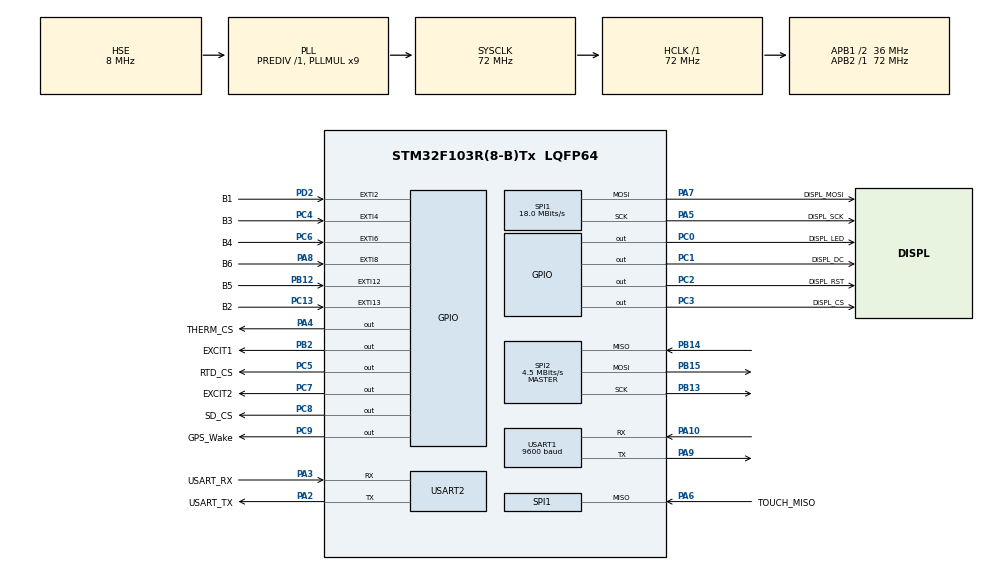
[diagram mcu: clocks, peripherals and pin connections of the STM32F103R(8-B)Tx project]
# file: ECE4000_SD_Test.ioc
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Dma.Request0=SPI1_RX
Dma.Request1=SPI1_TX
Dma.Request2=USART1_RX
Dma.SPI1_RX.0.Direction=DMA_PERIPH_TO_MEMORY
Dma.SPI1_RX.0.Instance=DMA1_Channel2
Dma.SPI1_RX.0.MemDataAlignment=DMA_MDATAALIGN_BYTE
Dma.SPI1_RX.0.MemInc=DMA_MINC_ENABLE
Dma.SPI1_RX.0.Mode=DMA_NORMAL
Dma.SPI1_RX.0.PeriphDataAlignment=DMA_PDATAALIGN_BYTE
Dma.SPI1_RX.0.PeriphInc=DMA_PINC_DISABLE
Dma.SPI1_RX.0.Priority=DMA_PRIORITY_LOW
Dma.SPI1_TX.1.Direction=DMA_MEMORY_TO_PERIPH
Dma.SPI1_TX.1.Instance=DMA1_Channel3
Dma.SPI1_TX.1.MemDataAlignment=DMA_MDATAALIGN_BYTE
Dma.SPI1_TX.1.MemInc=DMA_MINC_ENABLE
Dma.SPI1_TX.1.Mode=DMA_NORMAL
Dma.SPI1_TX.1.PeriphDataAlignment=DMA_PDATAALIGN_BYTE
Dma.SPI1_TX.1.PeriphInc=DMA_PINC_DISABLE
Dma.SPI1_TX.1.Priority=DMA_PRIORITY_LOW
Dma.USART1_RX.2.Direction=DMA_PERIPH_TO_MEMORY
Dma.USART1_RX.2.Instance=DMA1_Channel5
Dma.USART1_RX.2.MemDataAlignment=DMA_MDATAALIGN_BYTE
Dma.USART1_RX.2.MemInc=DMA_MINC_ENABLE
Dma.USART1_RX.2.Mode=DMA_CIRCULAR
Dma.USART1_RX.2.PeriphDataAlignment=DMA_PDATAALIGN_BYTE
Dma.USART1_RX.2.PeriphInc=DMA_PINC_DISABLE
Dma.USART1_RX.2.Priority=DMA_PRIORITY_LOW
FATFS._CODE_PAGE=437
FATFS._USE_LABEL=1
FATFS._USE_LFN=1
Mcu.Family=STM32F1
Mcu.Name=STM32F103R(8-B)Tx
Mcu.Package=LQFP64
NVIC.DMA1_Channel2_IRQn=true\:0\:0\:false\:false\:true\:false\:true\:true
NVIC.DMA1_Channel3_IRQn=true\:0\:0\:false\:false\:true\:false\:true\:true
NVIC.DMA1_Channel5_IRQn=true\:0\:0\:false\:false\:true\:false\:true\:true
NVIC.EXTI15_10_IRQn=true\:0\:0\:false\:false\:true\:true\:true\:true
NVIC.EXTI2_IRQn=true\:0\:0\:false\:false\:true\:true\:true\:true
NVIC.EXTI4_IRQn=true\:0\:0\:false\:false\:true\:true\:true\:true
NVIC.EXTI9_5_IRQn=true\:0\:0\:false\:false\:true\:true\:true\:true
NVIC.PriorityGroup=NVIC_PRIORITYGROUP_4
NVIC.TIM2_IRQn=true\:0\:0\:false\:false\:true\:true\:true\:true
PA10.Mode=Asynchronous
PA10.Signal=USART1_RX
PA13.GPIO_Label=TMS
PA13.Mode=Serial_Wire
PA13.Signal=SYS_JTMS-SWDIO
PA14.GPIO_Label=TCK
PA14.Mode=Serial_Wire
PA14.Signal=SYS_JTCK-SWCLK
PA2.GPIO_Label=USART_TX
PA2.GPIO_Mode=GPIO_MODE_AF_PP
PA2.GPIO_PuPd=GPIO_NOPULL
PA2.GPIO_Speed=GPIO_SPEED_FREQ_LOW
PA2.Mode=Asynchronous
PA2.Signal=USART2_TX
PA3.GPIO_Label=USART_RX
PA3.GPIO_Mode=GPIO_MODE_AF_PP
PA3.GPIO_PuPd=GPIO_NOPULL
PA3.GPIO_Speed=GPIO_SPEED_FREQ_LOW
PA3.Mode=Asynchronous
PA3.Signal=USART2_RX
PA4.GPIO_Label=THERM_CS
PA4.GPIO_Speed=GPIO_SPEED_FREQ_HIGH
PA4.PinState=GPIO_PIN_SET
PA4.Signal=GPIO_Output
PA5.GPIO_Label=DISPL_SCK
PA5.Mode=Full_Duplex_Master
PA5.Signal=SPI1_SCK
PA6.GPIO_Label=TOUCH_MISO
PA6.GPIO_PuPd=GPIO_NOPULL
PA6.Mode=Full_Duplex_Master
PA6.Signal=SPI1_MISO
PA7.GPIO_Label=DISPL_MOSI
PA7.Mode=Full_Duplex_Master
PA7.Signal=SPI1_MOSI
PA8.GPIO_Label=B6
PA8.GPIO_ModeDefaultEXTI=GPIO_MODE_IT_FALLING
PA8.Signal=GPXTI8
PA9.Mode=Asynchronous
PA9.Signal=USART1_TX
PB12.GPIO_Label=B5
PB12.GPIO_ModeDefaultEXTI=GPIO_MODE_IT_FALLING
PB12.Signal=GPXTI12
PB13.Mode=Full_Duplex_Master
PB13.Signal=SPI2_SCK
PB14.Mode=Full_Duplex_Master
PB14.Signal=SPI2_MISO
PB15.Mode=Full_Duplex_Master
PB15.Signal=SPI2_MOSI
PB2.GPIO_Label=EXCIT1
PB2.Signal=GPIO_Output
PC0.GPIO_Label=DISPL_LED
PC0.Signal=GPIO_Output
PC1.GPIO_Label=DISPL_DC
PC1.Signal=GPIO_Output
PC13-TAMPER-RTC.GPIO_Label=B2
PC13-TAMPER-RTC.GPIO_ModeDefaultEXTI=GPIO_MODE_IT_FALLING
PC13-TAMPER-RTC.Signal=GPXTI13
PC14-OSC32_IN.Mode=LSE-External-Oscillator
PC14-OSC32_IN.Signal=RCC_OSC32_IN
PC15-OSC32_OUT.Mode=LSE-External-Oscillator
PC15-OSC32_OUT.Signal=RCC_OSC32_OUT
PC2.GPIO_Label=DISPL_RST
PC2.Signal=GPIO_Output
PC3.GPIO_Label=DISPL_CS
PC3.PinState=GPIO_PIN_SET
PC3.Signal=GPIO_Output
PC4.GPIO_Label=B3
PC4.GPIO_ModeDefaultEXTI=GPIO_MODE_IT_FALLING
PC4.Signal=GPXTI4
PC5.GPIO_Label=RTD_CS
PC5.GPIO_Speed=GPIO_SPEED_FREQ_HIGH
PC5.PinState=GPIO_PIN_SET
PC5.Signal=GPIO_Output
PC6.GPIO_Label=B4
PC6.GPIO_ModeDefaultEXTI=GPIO_MODE_IT_FALLING
PC6.Signal=GPXTI6
PC7.GPIO_Label=EXCIT2
PC7.Signal=GPIO_Output
PC8.GPIO_Label=SD_CS
PC8.GPIO_PuPd=GPIO_NOPULL
PC8.GPIO_Speed=GPIO_SPEED_FREQ_HIGH
PC8.PinState=GPIO_PIN_SET
PC8.Signal=GPIO_Output
PC9.GPIO_Label=GPS_Wake
PC9.Signal=GPIO_Output
PD0-OSC_IN.Mode=HSE-External-Clock-Source
PD0-OSC_IN.Signal=RCC_OSC_IN
PD1-OSC_OUT.Mode=HSE-External-Clock-Source
PD1-OSC_OUT.Signal=RCC_OSC_OUT
PD2.GPIO_Label=B1
PD2.GPIO_ModeDefaultEXTI=GPIO_MODE_IT_FALLING
PD2.Signal=GPXTI2
ProjectManager.HeapSize=0x200
ProjectManager.StackSize=0x400
ProjectManager.TargetToolchain=STM32CubeIDE
RCC.AHBFreq_Value=72000000
RCC.APB1CLKDivider=RCC_HCLK_DIV2
RCC.APB1Freq_Value=36000000
RCC.APB1TimFreq_Value=72000000
RCC.APB2Freq_Value=72000000
RCC.APB2TimFreq_Value=72000000
RCC.HCLKFreq_Value=72000000
RCC.PLLMUL=RCC_PLL_MUL9
RCC.PLLSourceVirtual=RCC_PLLSOURCE_HSE
RCC.RTCClockSelection=RCC_RTCCLKSOURCE_LSE
RCC.SYSCLKFreq_VALUE=72000000
RCC.SYSCLKSource=RCC_SYSCLKSOURCE_PLLCLK
RCC.USBFreq_Value=72000000
SPI1.BaudRatePrescaler=SPI_BAUDRATEPRESCALER_4
SPI1.CalculateBaudRate=18.0 MBits/s
SPI1.Direction=SPI_DIRECTION_2LINES
SPI1.Mode=SPI_MODE_MASTER
SPI1.VirtualType=VM_MASTER
SPI2.BaudRatePrescaler=SPI_BAUDRATEPRESCALER_8
SPI2.CLKPhase=SPI_PHASE_2EDGE
SPI2.CalculateBaudRate=4.5 MBits/s
SPI2.Direction=SPI_DIRECTION_2LINES
SPI2.Mode=SPI_MODE_MASTER
SPI2.VirtualType=VM_MASTER
TIM2.Period=1000-1
TIM2.Prescaler=7200-1
USART1.BaudRate=9600
USART1.VirtualMode=VM_ASYNC
USART2.VirtualMode=VM_ASYNC
VP_FATFS_VS_Generic.Mode=User_defined
VP_TIM2_VS_ClockSourceINT.Mode=Internal
VP_TIM3_VS_ClockSourceINT.Mode=Internal
board=NUCLEO-F103RB

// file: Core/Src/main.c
/* USER CODE BEGIN Header */
/**
  ******************************************************************************
  * @file           : main.c
  * @brief          : Main program body
  ******************************************************************************
  * @attention
  *
  * Copyright (c) 2026 STMicroelectronics.
  * All rights reserved.
  *
  * This software is licensed under terms that can be found in the LICENSE file
  * in the root directory of this software component.
  * If no LICENSE file comes with this software, it is provided AS-IS.
  *
  ******************************************************************************
  */
/* USER CODE END Header */
#include "main.h"
#include "fatfs.h"

/* USER CODE BEGIN Includes */
#include "sd_functions.h"
#include "max31865_stm32.h"
#include "max31856_stm32.h"
#include "SD_Commands.h"
#include "sd_spi.h"
#include "z_displ_ILI9XXX.h"
#include <stdio.h>
#include <string.h>
#include "MAX_Commands.h"
#include "Menus.h"

/* USER CODE END Includes */

/* USER CODE BEGIN PD */
#define SD_CS_LOW()     HAL_GPIO_WritePin(SD_CS_GPIO_Port, SD_CS_Pin, GPIO_PIN_RESET)
#define SD_CS_HIGH()    HAL_GPIO_WritePin(SD_CS_GPIO_Port, SD_CS_Pin, GPIO_PIN_SET)

/* USER CODE END PD */

SPI_HandleTypeDef hspi1;
SPI_HandleTypeDef hspi2;
DMA_HandleTypeDef hdma_spi1_rx;
DMA_HandleTypeDef hdma_spi1_tx;

TIM_HandleTypeDef htim2;
TIM_HandleTypeDef htim3;

UART_HandleTypeDef huart1;
UART_HandleTypeDef huart2;
DMA_HandleTypeDef hdma_usart1_rx;

/* USER CODE BEGIN PV */

// Faaiz UI 0/1 states
static uint8_t ui_sd_mounted   = 0;
static uint8_t ui_create_file  = 0;
static uint8_t ui_run_test     = 0;
static uint8_t ui_excit1       = 0;
static uint8_t ui_excit2       = 0;

// Faaiz screen Layout
#define UI_X      20
#define UI_Y0     40
#define UI_DY     40

volatile uint8_t TEMP_TIMER = 0;

char filename[32] = "TESTTESTTEST";

/* USER CODE END PV */

void SystemClock_Config(void);
static void MX_GPIO_Init(void);
static void MX_DMA_Init(void);
static void MX_SPI1_Init(void);
static void MX_SPI2_Init(void);
static void MX_USART2_UART_Init(void);
static void MX_USART1_UART_Init(void);
static void MX_TIM3_Init(void);
static void MX_TIM2_Init(void);

/* USER CODE BEGIN 0 */
volatile uint8_t buttons = 0;

int _write(int file, char *ptr, int len) {
    for (int i = 0; i < len; i++) {
        ITM_SendChar((*ptr++));
    }
    return len;
}

int SDMOUNT(SPI_HandleTypeDef *hspi)
{
	uint32_t original = hspi->Init.BaudRatePrescaler;
	HAL_SPI_DeInit(hspi);
	hspi->Init.BaudRatePrescaler = SPI_BAUDRATEPRESCALER_256;
	HAL_Delay(10);
	HAL_SPI_Init(hspi);

	SD_CS_HIGH();  // Ensure card is deselected
	HAL_Delay(10);

	int connected = sd_mount();

	HAL_SPI_DeInit(hspi);
	hspi->Init.BaudRatePrescaler = original;
	HAL_Delay(10);
	HAL_SPI_Init(hspi);

	return connected;
}

// Faaiz screen
//static void UI_DrawLine(uint8_t line, const char *text, uint8_t val)
void UI_DrawLine(uint8_t line, const char *text, uint8_t val)
{
  char buf[64];
  snprintf(buf, sizeof(buf), "%s: %d", text, val);
  Displ_WString(UI_X, (uint16_t)(UI_Y0 + line * UI_DY),
                buf, Font16, 1, WHITE, BLACK);
}

void UI_DrawAll(void)
{
  Displ_CLS(BLACK);

  Displ_WString(UI_X, 10, "Button / Screen Test", Font16, 1, WHITE, BLACK);

  UI_DrawLine(0, "B1 - Mount SD Card",   ui_sd_mounted);
  UI_DrawLine(1, "B2 - Create file",     ui_create_file);
  UI_DrawLine(2, "B3 - Run Test",        ui_run_test);
  UI_DrawLine(3, "B4 - Exciter Relay 1", ui_excit1);
  UI_DrawLine(4, "B5 - Exciter Relay 2", ui_excit2);
}
// Faaiz screen
/* USER CODE END 0 */

int main(void)
{

  /* MCU Configuration--------------------------------------------------------*/

  /* Reset of all peripherals, Initializes the Flash interface and the Systick. */
  HAL_Init();

  /* USER CODE BEGIN Init */
//  MAX31865_HandleTypeDef MAX_RTD;
//  MAX31865_HandleTypeDef MAX_RTD;

  /* USER CODE END Init */

  /* Configure the system clock */
  SystemClock_Config();

  /* Initialize all configured peripherals */
  MX_GPIO_Init();
  MX_DMA_Init();
  MX_SPI1_Init();
  MX_SPI2_Init();
  MX_USART2_UART_Init();
  MX_USART1_UART_Init();
  MX_TIM3_Init();
  MX_TIM2_Init();
  /* USER CODE BEGIN 2 */

//  SD_CS_HIGH();  // Ensure card is deselected
  HAL_Delay(30);
//  int connected = sd_mount();
//  sd_test_read_raw();
//  sd_write_file("test1.txt", "hello from STM32\r\n");

//////  char buf[64];
//////  UINT br;
//////  FRESULT r = sd_read_file("test1.txt", buf, sizeof(buf), &br);
//////  printf("read_file = %d, br = %u, data = '%s'\r\n", r, br, buf);
////
//////  sd_list_files();
////
////  //TLS-CRC-2025-10-30-11-29-14A.csv
////  readMeasurementData("readMeasurementData.csv", 6485);
////  sd_unmount();
    GPS_Init(&huart1);
//
//  int connected = SDMOUNT(&hspi1);
//  printf("Connected: %d\n", connected);
////  sd_test_read_raw();
////  sd_write_file("test1.txt", "hello from STM32\r\n");
//
////  char buf[64];
////  UINT br;
////  FRESULT r = sd_read_file("test1.txt", buf, sizeof(buf), &br);
////  printf("read_file = %d, br = %u, data = '%s'\r\n", r, br, buf);
//
//  sd_list_files();
//
//  //TLS-CRC-2025-10-30-11-29-14A.csv - 6485
////  readMeasurementData("TLS-CRC-2025-10-30-11-29-14A.csv", &tempsLen, 15);
//
//  METADATA md;
//  char * filename = "TLS-SIN";
//  createMeasurementFile(&filename, &md);
//
////  float mins = 4;
//  float mins = 0.02;
//  float t=0;
//  float sampleTime = 1.0/15.0;
//  char text[10];
//  while(t < mins * 60)
//  {
//	  sprintf(text, "%.3f\n", sin(t));
//	  sd_append_file(filename, text);
//	  t += sampleTime;
//  }
//
//  sd_unmount();

//  GPS_Data_t gps = {0};
//  GPS_oneshot();
//  printGPSData(&gps);

//  printf("Running RTD Test...\n");
//  MAX31865_Init(&MAX_RTD, &hspi2, RTD_CS_GPIO_Port, RTD_CS_Pin, MAX31865_WIRES_3, 0);
//
//  uint16_t raw15;
//  MAX31865_ReadRTDRaw(&MAX_RTD, &raw15);
//  uint8_t buf[8];
//  MAX31865_ReadN(&MAX_RTD, 0, buf, 8);
//
//
//
//  for(int i=0;i<8;i++)
//  {
//	  printf("%02X  ", buf[i]);
//  }
//  printf("\n");

  // Faaiz screen
  // Display init
  Displ_Init(Displ_Orientat_90);
  Displ_CLS(BLACK);
  Displ_BackLight('I');
  HAL_GPIO_WritePin(DISPL_LED_GPIO_Port, DISPL_LED_Pin, 1);
  // Draw the page once
 // UI_DrawAll();
  // Faaiz screen

	char buf[64];
	snprintf(buf, 64, "Mounting SD Card...");
	Displ_WString(5, 5, buf, Font8, 1, WHITE, BLACK);
	int connected = SDMOUNT(&hspi1);
	if(connected != FR_OK)
	{
		snprintf(buf, 64, "Please insert SD Card and rerun.");
		Displ_WString(5, 5+8, buf, Font8, 1, WHITE, BLACK);
		while(1);
	}
	snprintf(buf, 64, "SD Card Mounted!");
	Displ_WString(5, 5+8, buf, Font8, 1, WHITE, BLACK);
	HAL_Delay(2000);

  /* USER CODE END 2 */

  /* Infinite loop */
  /* USER CODE BEGIN WHILE */
  while (1)
  {
//	  menus();
	  Displ_CLS(BLACK);
	  snprintf(buf, 64, "Press Button one to start test.");
	  Displ_WString(5, 5, buf, Font8, 1, WHITE, BLACK);
	  while(!(buttons && 0x01)); // wait for button one to be pressed.
	  buttons = 0;

	  saveDataSD();

	  snprintf(buf, 64, "Unmounting SD Card...");
	  Displ_WString(5, 5+(8*2), buf, Font8, 1, WHITE, BLACK);
	  sd_unmount();
	  snprintf(buf, 64, "SD Card Unmounted!");

	  Displ_WString(5, 5+(8*3), buf, Font8, 1, WHITE, BLACK);
	  while(!(buttons && 0x01)); // wait for button one to be pressed.
	  buttons = 0;
	 // read_buttons();
//	  uint8_t i=buttons;
//	  printf("b: %x \n", buttons);
//	  HAL_Delay(30);
	  //buttons = 0;
/*
	  if (buttons & 0x01) { ui_sd_mounted  ^= 1; UI_DrawLine(0, "B1 - Mount SD Card",   ui_sd_mounted); buttons = 0;}
	  if (buttons & 0x02) { ui_create_file ^= 1; UI_DrawLine(1, "B2 - Create file",     ui_create_file); buttons = 0;}
	  if (buttons & 0x04) { ui_run_test    ^= 1; UI_DrawLine(2, "B3 - Run Test",        ui_run_test); buttons = 0;}
	  if (buttons & 0x08) { ui_excit1      ^= 1; UI_DrawLine(3, "B4 - Exciter Relay 1", ui_excit1); buttons = 0;}
	  if (buttons & 0x10) { ui_excit2      ^= 1; UI_DrawLine(4, "B5 - Exciter Relay 2", ui_excit2); buttons = 0;}
*/
	  // (PB-6 bit 0x20 ignored for now)

//	  HAL_Delay(10);

//	  printf("b: %02x \n", buttons);
//	  HAL_Delay(30);
//	  buttons = 0;

//	  float temp=readTemp();
//	  printf("Temp: %2.3f\n", temp);
//	  HAL_Delay(500);
    /* USER CODE END WHILE */

  }
}

void SystemClock_Config(void)
{
  RCC_OscInitTypeDef RCC_OscInitStruct = {0};
  RCC_ClkInitTypeDef RCC_ClkInitStruct = {0};

  /** Initializes the RCC Oscillators according to the specified parameters
  * in the RCC_OscInitTypeDef structure.
  */
  RCC_OscInitStruct.OscillatorType = RCC_OSCILLATORTYPE_HSE;
  RCC_OscInitStruct.HSEState = RCC_HSE_BYPASS;
  RCC_OscInitStruct.HSEPredivValue = RCC_HSE_PREDIV_DIV1;
  RCC_OscInitStruct.HSIState = RCC_HSI_ON;
  RCC_OscInitStruct.PLL.PLLState = RCC_PLL_ON;
  RCC_OscInitStruct.PLL.PLLSource = RCC_PLLSOURCE_HSE;
  RCC_OscInitStruct.PLL.PLLMUL = RCC_PLL_MUL9;
  if (HAL_RCC_OscConfig(&RCC_OscInitStruct) != HAL_OK)
  {
    Error_Handler();
  }

  /** Initializes the CPU, AHB and APB buses clocks
  */
  RCC_ClkInitStruct.ClockType = RCC_CLOCKTYPE_HCLK|RCC_CLOCKTYPE_SYSCLK
                              |RCC_CLOCKTYPE_PCLK1|RCC_CLOCKTYPE_PCLK2;
  RCC_ClkInitStruct.SYSCLKSource = RCC_SYSCLKSOURCE_PLLCLK;
  RCC_ClkInitStruct.AHBCLKDivider = RCC_SYSCLK_DIV1;
  RCC_ClkInitStruct.APB1CLKDivider = RCC_HCLK_DIV2;
  RCC_ClkInitStruct.APB2CLKDivider = RCC_HCLK_DIV1;

  if (HAL_RCC_ClockConfig(&RCC_ClkInitStruct, FLASH_LATENCY_2) != HAL_OK)
  {
    Error_Handler();
  }
}

static void MX_SPI1_Init(void)
{

  /* SPI1 parameter configuration*/
  hspi1.Instance = SPI1;
  hspi1.Init.Mode = SPI_MODE_MASTER;
  hspi1.Init.Direction = SPI_DIRECTION_2LINES;
  hspi1.Init.DataSize = SPI_DATASIZE_8BIT;
  hspi1.Init.CLKPolarity = SPI_POLARITY_LOW;
  hspi1.Init.CLKPhase = SPI_PHASE_1EDGE;
  hspi1.Init.NSS = SPI_NSS_SOFT;
  hspi1.Init.BaudRatePrescaler = SPI_BAUDRATEPRESCALER_4;
  hspi1.Init.FirstBit = SPI_FIRSTBIT_MSB;
  hspi1.Init.TIMode = SPI_TIMODE_DISABLE;
  hspi1.Init.CRCCalculation = SPI_CRCCALCULATION_DISABLE;
  hspi1.Init.CRCPolynomial = 10;
  if (HAL_SPI_Init(&hspi1) != HAL_OK)
  {
    Error_Handler();
  }

}

static void MX_SPI2_Init(void)
{

  /* SPI2 parameter configuration*/
  hspi2.Instance = SPI2;
  hspi2.Init.Mode = SPI_MODE_MASTER;
  hspi2.Init.Direction = SPI_DIRECTION_2LINES;
  hspi2.Init.DataSize = SPI_DATASIZE_8BIT;
  hspi2.Init.CLKPolarity = SPI_POLARITY_LOW;
  hspi2.Init.CLKPhase = SPI_PHASE_2EDGE;
  hspi2.Init.NSS = SPI_NSS_SOFT;
  hspi2.Init.BaudRatePrescaler = SPI_BAUDRATEPRESCALER_8;
  hspi2.Init.FirstBit = SPI_FIRSTBIT_MSB;
  hspi2.Init.TIMode = SPI_TIMODE_DISABLE;
  hspi2.Init.CRCCalculation = SPI_CRCCALCULATION_DISABLE;
  hspi2.Init.CRCPolynomial = 10;
  if (HAL_SPI_Init(&hspi2) != HAL_OK)
  {
    Error_Handler();
  }

}

static void MX_TIM2_Init(void)
{

  TIM_ClockConfigTypeDef sClockSourceConfig = {0};
  TIM_MasterConfigTypeDef sMasterConfig = {0};

  htim2.Instance = TIM2;
  htim2.Init.Prescaler = 7200-1;
  htim2.Init.CounterMode = TIM_COUNTERMODE_UP;
  htim2.Init.Period = 1000-1;
  htim2.Init.ClockDivision = TIM_CLOCKDIVISION_DIV1;
  htim2.Init.AutoReloadPreload = TIM_AUTORELOAD_PRELOAD_DISABLE;
  if (HAL_TIM_Base_Init(&htim2) != HAL_OK)
  {
    Error_Handler();
  }
  sClockSourceConfig.ClockSource = TIM_CLOCKSOURCE_INTERNAL;
  if (HAL_TIM_ConfigClockSource(&htim2, &sClockSourceConfig) != HAL_OK)
  {
    Error_Handler();
  }
  sMasterConfig.MasterOutputTrigger = TIM_TRGO_RESET;
  sMasterConfig.MasterSlaveMode = TIM_MASTERSLAVEMODE_DISABLE;
  if (HAL_TIMEx_MasterConfigSynchronization(&htim2, &sMasterConfig) != HAL_OK)
  {
    Error_Handler();
  }

}

static void MX_TIM3_Init(void)
{

  TIM_ClockConfigTypeDef sClockSourceConfig = {0};
  TIM_MasterConfigTypeDef sMasterConfig = {0};

  htim3.Instance = TIM3;
  htim3.Init.Prescaler = 0;
  htim3.Init.CounterMode = TIM_COUNTERMODE_UP;
  htim3.Init.Period = 65535;
  htim3.Init.ClockDivision = TIM_CLOCKDIVISION_DIV1;
  htim3.Init.AutoReloadPreload = TIM_AUTORELOAD_PRELOAD_DISABLE;
  if (HAL_TIM_Base_Init(&htim3) != HAL_OK)
  {
    Error_Handler();
  }
  sClockSourceConfig.ClockSource = TIM_CLOCKSOURCE_INTERNAL;
  if (HAL_TIM_ConfigClockSource(&htim3, &sClockSourceConfig) != HAL_OK)
  {
    Error_Handler();
  }
  sMasterConfig.MasterOutputTrigger = TIM_TRGO_RESET;
  sMasterConfig.MasterSlaveMode = TIM_MASTERSLAVEMODE_DISABLE;
  if (HAL_TIMEx_MasterConfigSynchronization(&htim3, &sMasterConfig) != HAL_OK)
  {
    Error_Handler();
  }

}

static void MX_USART1_UART_Init(void)
{

  huart1.Instance = USART1;
  huart1.Init.BaudRate = 9600;
  huart1.Init.WordLength = UART_WORDLENGTH_8B;
  huart1.Init.StopBits = UART_STOPBITS_1;
  huart1.Init.Parity = UART_PARITY_NONE;
  huart1.Init.Mode = UART_MODE_TX_RX;
  huart1.Init.HwFlowCtl = UART_HWCONTROL_NONE;
  huart1.Init.OverSampling = UART_OVERSAMPLING_16;
  if (HAL_UART_Init(&huart1) != HAL_OK)
  {
    Error_Handler();
  }

}

static void MX_USART2_UART_Init(void)
{

  huart2.Instance = USART2;
  huart2.Init.BaudRate = 115200;
  huart2.Init.WordLength = UART_WORDLENGTH_8B;
  huart2.Init.StopBits = UART_STOPBITS_1;
  huart2.Init.Parity = UART_PARITY_NONE;
  huart2.Init.Mode = UART_MODE_TX_RX;
  huart2.Init.HwFlowCtl = UART_HWCONTROL_NONE;
  huart2.Init.OverSampling = UART_OVERSAMPLING_16;
  if (HAL_UART_Init(&huart2) != HAL_OK)
  {
    Error_Handler();
  }

}

static void MX_DMA_Init(void)
{

  /* DMA controller clock enable */
  __HAL_RCC_DMA1_CLK_ENABLE();

  /* DMA interrupt init */
  /* DMA1_Channel2_IRQn interrupt configuration */
  HAL_NVIC_SetPriority(DMA1_Channel2_IRQn, 0, 0);
  HAL_NVIC_EnableIRQ(DMA1_Channel2_IRQn);
  /* DMA1_Channel3_IRQn interrupt configuration */
  HAL_NVIC_SetPriority(DMA1_Channel3_IRQn, 0, 0);
  HAL_NVIC_EnableIRQ(DMA1_Channel3_IRQn);
  /* DMA1_Channel5_IRQn interrupt configuration */
  HAL_NVIC_SetPriority(DMA1_Channel5_IRQn, 0, 0);
  HAL_NVIC_EnableIRQ(DMA1_Channel5_IRQn);

}

static void MX_GPIO_Init(void)
{
  GPIO_InitTypeDef GPIO_InitStruct = {0};

  /* GPIO Ports Clock Enable */
  __HAL_RCC_GPIOC_CLK_ENABLE();
  __HAL_RCC_GPIOD_CLK_ENABLE();
  __HAL_RCC_GPIOA_CLK_ENABLE();
  __HAL_RCC_GPIOB_CLK_ENABLE();

  /*Configure GPIO pin Output Level */
  HAL_GPIO_WritePin(GPIOC, DISPL_LED_Pin|DISPL_DC_Pin|DISPL_RST_Pin|EXCIT2_Pin
                          |GPS_Wake_Pin, GPIO_PIN_RESET);

  /*Configure GPIO pin Output Level */
  HAL_GPIO_WritePin(GPIOC, DISPL_CS_Pin|RTD_CS_Pin|SD_CS_Pin, GPIO_PIN_SET);

  /*Configure GPIO pin Output Level */
  HAL_GPIO_WritePin(THERM_CS_GPIO_Port, THERM_CS_Pin, GPIO_PIN_SET);

  /*Configure GPIO pin Output Level */
  HAL_GPIO_WritePin(EXCIT1_GPIO_Port, EXCIT1_Pin, GPIO_PIN_RESET);

  /*Configure GPIO pins : B2_Pin B3_Pin B4_Pin */
  GPIO_InitStruct.Pin = B2_Pin|B3_Pin|B4_Pin;
  GPIO_InitStruct.Mode = GPIO_MODE_IT_FALLING;
  GPIO_InitStruct.Pull = GPIO_NOPULL;
  HAL_GPIO_Init(GPIOC, &GPIO_InitStruct);

  /*Configure GPIO pins : DISPL_LED_Pin DISPL_DC_Pin DISPL_RST_Pin DISPL_CS_Pin
                           EXCIT2_Pin GPS_Wake_Pin */
  GPIO_InitStruct.Pin = DISPL_LED_Pin|DISPL_DC_Pin|DISPL_RST_Pin|DISPL_CS_Pin
                          |EXCIT2_Pin|GPS_Wake_Pin;
  GPIO_InitStruct.Mode = GPIO_MODE_OUTPUT_PP;
  GPIO_InitStruct.Pull = GPIO_NOPULL;
  GPIO_InitStruct.Speed = GPIO_SPEED_FREQ_LOW;
  HAL_GPIO_Init(GPIOC, &GPIO_InitStruct);

  /*Configure GPIO pin : THERM_CS_Pin */
  GPIO_InitStruct.Pin = THERM_CS_Pin;
  GPIO_InitStruct.Mode = GPIO_MODE_OUTPUT_PP;
  GPIO_InitStruct.Pull = GPIO_NOPULL;
  GPIO_InitStruct.Speed = GPIO_SPEED_FREQ_HIGH;
  HAL_GPIO_Init(THERM_CS_GPIO_Port, &GPIO_InitStruct);

  /*Configure GPIO pins : RTD_CS_Pin SD_CS_Pin */
  GPIO_InitStruct.Pin = RTD_CS_Pin|SD_CS_Pin;
  GPIO_InitStruct.Mode = GPIO_MODE_OUTPUT_PP;
  GPIO_InitStruct.Pull = GPIO_NOPULL;
  GPIO_InitStruct.Speed = GPIO_SPEED_FREQ_HIGH;
  HAL_GPIO_Init(GPIOC, &GPIO_InitStruct);

  /*Configure GPIO pin : EXCIT1_Pin */
  GPIO_InitStruct.Pin = EXCIT1_Pin;
  GPIO_InitStruct.Mode = GPIO_MODE_OUTPUT_PP;
  GPIO_InitStruct.Pull = GPIO_NOPULL;
  GPIO_InitStruct.Speed = GPIO_SPEED_FREQ_LOW;
  HAL_GPIO_Init(EXCIT1_GPIO_Port, &GPIO_InitStruct);

  /*Configure GPIO pin : B5_Pin */
  GPIO_InitStruct.Pin = B5_Pin;
  GPIO_InitStruct.Mode = GPIO_MODE_IT_FALLING;
  GPIO_InitStruct.Pull = GPIO_NOPULL;
  HAL_GPIO_Init(B5_GPIO_Port, &GPIO_InitStruct);

  /*Configure GPIO pin : B6_Pin */
  GPIO_InitStruct.Pin = B6_Pin;
  GPIO_InitStruct.Mode = GPIO_MODE_IT_FALLING;
  GPIO_InitStruct.Pull = GPIO_NOPULL;
  HAL_GPIO_Init(B6_GPIO_Port, &GPIO_InitStruct);

  /*Configure GPIO pin : B1_Pin */
  GPIO_InitStruct.Pin = B1_Pin;
  GPIO_InitStruct.Mode = GPIO_MODE_IT_FALLING;
  GPIO_InitStruct.Pull = GPIO_NOPULL;
  HAL_GPIO_Init(B1_GPIO_Port, &GPIO_InitStruct);

  /* EXTI interrupt init*/
  HAL_NVIC_SetPriority(EXTI2_IRQn, 0, 0);
  HAL_NVIC_EnableIRQ(EXTI2_IRQn);

  HAL_NVIC_SetPriority(EXTI4_IRQn, 0, 0);
  HAL_NVIC_EnableIRQ(EXTI4_IRQn);

  HAL_NVIC_SetPriority(EXTI9_5_IRQn, 0, 0);
  HAL_NVIC_EnableIRQ(EXTI9_5_IRQn);

  HAL_NVIC_SetPriority(EXTI15_10_IRQn, 0, 0);
  HAL_NVIC_EnableIRQ(EXTI15_10_IRQn);

}

/* USER CODE BEGIN 4 */
void HAL_GPIO_EXTI_Callback(uint16_t GPIO_Pin)
{
  if(GPIO_Pin == B1_Pin)
  {
	  buttons |= 0x01;
  }
  if(GPIO_Pin == B2_Pin)
  {
	  buttons |= 0x02;
  }
  if(GPIO_Pin == B3_Pin)
  {
	  buttons |= 0x04;
  }
  if(GPIO_Pin == B4_Pin)
  {
	  buttons |= 0x08;
  }
  if(GPIO_Pin == B5_Pin)
  {
	  buttons |= 0x10;
  }
  if(GPIO_Pin == B6_Pin)
  {
	  buttons |= 0x20;
  }
}

void HAL_SPI_TxCpltCallback(SPI_HandleTypeDef *hspi)
{
    SD_OnSpiTxComplete(hspi);
    Displ_OnSpiTxComplete(hspi);
}

void HAL_TIM_PeriodElapsedCallback(TIM_HandleTypeDef *htim)
{
  if (htim->Instance == TIM2) // Check if the interrupt is from TIM2
  {
	  TEMP_TIMER = 1;
  }
}
/* USER CODE END 4 */

void Error_Handler(void)
{
  __disable_irq();
  while (1)
  {
  }
}
